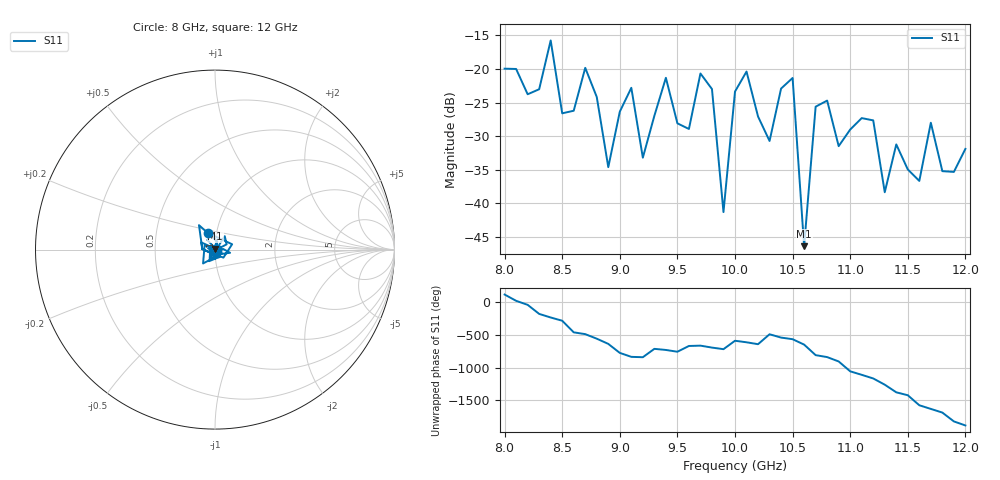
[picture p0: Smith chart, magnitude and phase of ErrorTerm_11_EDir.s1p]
!  1-Port S-parameters saved by WinCal
! VAR NAME=2-Port SOLT labuser 6
! VAR Error Term Name=EDir phys rcv port 1 phys src port 1
# Hz S RI R 50
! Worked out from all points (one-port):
!   41 points, 8 GHz to 12 GHz, reference 50 ohm
!   lowest |S11| = -46.4 dB at 10.6 GHz (marker M1), VSWR 1.01, Z = 50.2 + j0.452 ohm
!   |S11| at or under -10 dB: start of sweep to end of sweep
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8e9  -0.0397 0.0923
8.3e9  -0.0706 0.00243
8.4e9  -0.0894 0.1363
8.5e9  0.0129 0.045
8.7e9  -0.0665 -0.0773
8.9e9  0.003 0.0183
9e9  0.0264 -0.0402
9.1e9  -0.0329 -0.0645
9.2e9  -0.0118 -0.0184
9.4e9  0.0841 -0.0177
9.5e9  0.0306 -0.0248
9.8e9  0.0646 0.0292
9.9e9  0.00861 -3.9e-06
1e10  -0.0423 0.0531
1.01e10  -0.025 0.0923
1.03e10  -0.0197 -0.0215
1.05e10  -0.0758 0.0399
1.06e10  0.00166 0.00451
1.07e10  -0.000815 -0.0524
1.1e10  0.0327 0.0136
1.12e10  0.0025 -0.0414
1.13e10  -0.0121 0.000321
1.14e10  0.0128 0.0243
1.15e10  0.0171 0.00535
1.16e10  -0.0104 -0.0103
1.17e10  -0.0391 0.00753
1.18e10  -0.00682 0.016
1.2e10  0.00297 -0.0253
